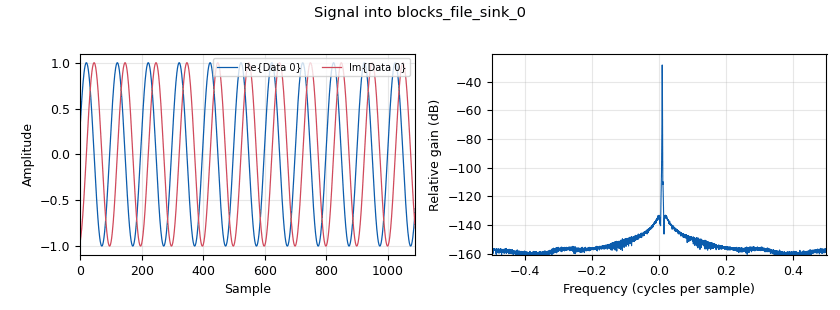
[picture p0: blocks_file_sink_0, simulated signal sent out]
options:
  parameters:
    author: Marcus Müller
    copyright: '2023'
    generate_options: no_gui
    id: generate_chirps
    output_language: python
    run_options: run
    title: Generate Chirps
  states: {}

blocks:
- name: analog_frequency_modulator_fc_0
  id: analog_frequency_modulator_fc
  parameters:
    sensitivity: chirp_rate
  states: {}
- name: analog_sig_source_x_0
  id: analog_sig_source_x
  parameters:
    amp: '3.141'
    freq: chirp_rate
    offset: '-3.141/2'
    phase: '0'
    samp_rate: samp_rate
    type: float
    waveform: analog.GR_SAW_WAVE
  states: {}
- name: blocks_file_sink_0
  id: blocks_file_sink
  parameters:
    file: output
    type: complex
  states: {}
- name: blocks_head_0
  id: blocks_head
  parameters:
    num_items: length
    type: complex
  states: {}
- name: chirp_rate
  id: parameter
  parameters:
    label: Chirp Rate
    type: eng_float
    value: '1'
  states: {}
- name: length
  id: parameter
  parameters:
    label: Length in Samples
    type: intx
    value: 10**6
  states: {}
- name: output
  id: parameter
  parameters:
    label: Output file
    short_id: o
    type: str
    value: chirp.fc32
  states: {}
- name: samp_rate
  id: parameter
  parameters:
    label: Sampling Rate
    type: eng_float
    value: 10e6
  states: {}

connections:
- [analog_frequency_modulator_fc_0, '0', blocks_head_0, '0']
- [analog_sig_source_x_0, '0', analog_frequency_modulator_fc_0, '0']
- [blocks_head_0, '0', blocks_file_sink_0, '0']

metadata:
  file_format: 1
  grc_version: v3.11.0.0git-499-g5eee613e
